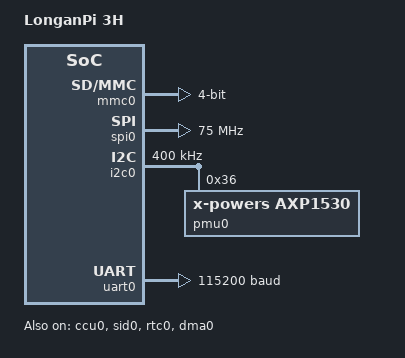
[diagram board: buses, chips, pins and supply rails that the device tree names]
// SPDX-License-Identifier: GPL-2.0+
/dts-v1/;

#include <dt-bindings/dram/dram-param.h>

#include <dt-bindings/gpio/sunxi-gpio.h>
#include <dt-bindings/soc/sun50iw9.h>

/ {
	#address-cells = <1>;
	#size-cells = <1>;
	model = "LonganPi 3H";
	compatible = "syterkit,longanpi-3h";

	aliases {
		ccu0 = &ccu0;
		sid0 = &sid0;
		dma0 = &dma0;
		dram0 = &dram0;
		i2c0 = &i2c0;
		mmc0 = &mmc0;
		pmu0 = &pmu0;
		rtc0 = &rtc0;
		spi0 = &spi0;
	};

	chosen {
		stdout-path = &uart0;
	};

	ccu0: clock-controller@3001000 {
		compatible = "allwinner,sun50iw9-ccu";
		reg = <SUNXI_CCM_BASE 0x1000>,
		      <SUNXI_RPRCM_BASE 0x1000>,
		      <SUNXI_IOMMU_BASE 0x1000>;
		reg-names = "ccu", "r-prcm", "iommu";
		status = "okay";
	};

	dram0: dram-controller {
		compatible = "allwinner,sun50iw9-dram";
		allwinner,dram-parameters =
			<0x000002d0>,
			<SUNXI_DRAM_LPDDR4>,
			<0x0c0c0c0c>,
			<0x0e0e0e0e>,
			<0x00000a0e>,
			<0x7887ffff>,
			<0x000030fa>,
			<0x04000000>,
			<0x00000000>,
			<0x00000034>,
			<0x0000001b>,
			<0x00000033>,
			<0x00000003>,
			<0x00000000>,
			<0x00000000>,
			<0x00000004>,
			<0x00000072>,
			<0x00000000>,
			<0x00000009>,
			<0x00000000>,
			<0x00000000>,
			<0x00000024>,
			<0x00000000>,
			<0x00000000>,
			<0x00000000>,
			<0x00000000>,
			<0x39808080>,
			<0x402f6603>,
			<0x20262620>,
			<0x0e0e0f0f>,
			<0x00001024>,
			<0x00000000>;
		allwinner,rtc = <&rtc0>;
		memory-region = <&dram_init_code>;
		status = "okay";
	};

	pio: pinctrl@300b000 {
		compatible = "allwinner,sunxi-pinctrl";
		reg = <SUNXI_PIO_BASE 0x1000>;
		allwinner,bank-base = <SUNXI_GPIO_PORT_A>;
		allwinner,bank-count = <11>;
		gpio-controller;
		#gpio-cells = <3>;

		mmc0_pins: mmc0-pins {
			allwinner,pins =
				<SUNXI_GPIO_PORT_F 2 2>,
				<SUNXI_GPIO_PORT_F 3 2>,
				<SUNXI_GPIO_PORT_F 1 2>,
				<SUNXI_GPIO_PORT_F 0 2>,
				<SUNXI_GPIO_PORT_F 5 2>,
				<SUNXI_GPIO_PORT_F 4 2>;
		};

		spi0_pins: spi0-pins {
			allwinner,pins =
				<SUNXI_GPIO_PORT_C 1 4>,
				<SUNXI_GPIO_PORT_C 0 4>,
				<SUNXI_GPIO_PORT_C 2 4>,
				<SUNXI_GPIO_PORT_C 3 4>,
				<SUNXI_GPIO_PORT_C 4 4>,
				<SUNXI_GPIO_PORT_C 5 4>;
		};

		uart0_pins: uart0-pins {
			allwinner,pins =
				<SUNXI_GPIO_PORT_H 0 2>,
				<SUNXI_GPIO_PORT_H 1 2>;
		};
	};

	r_pio: pinctrl@7022000 {
		compatible = "allwinner,sunxi-pinctrl";
		reg = <SUNXI_RPIO_BASE 0x1000>;
		allwinner,bank-base = <SUNXI_GPIO_PORT_L>;
		allwinner,bank-count = <3>;
		gpio-controller;
		#gpio-cells = <3>;

		i2c0_pins: i2c0-pins {
			allwinner,pins =
				<SUNXI_GPIO_PORT_L 0 3>,
				<SUNXI_GPIO_PORT_L 1 3>;
		};
	};

	reserved-memory {
		#address-cells = <1>;
		#size-cells = <1>;
		ranges;

		mmc0_dma: dma-descriptors@50080000 {
			reg = <0x50080000 0x100000>;
			no-map;
		};

		dram_init_code: dram-init-code@48000 {
			reg = <0x00048000 0x00008000>;
			no-map;
		};
	};

	soc {
		compatible = "simple-bus";
		#address-cells = <1>;
		#size-cells = <1>;
		ranges;

		sid0: efuse@3006000 {
			compatible = "allwinner,sunxi-sid";
			reg = <SUNXI_SID_BASE 0x400>;
			allwinner,efuse-hv-switch = <(SUNXI_RTC_BASE + 0x204)>;
			status = "okay";
		};

		rtc0: rtc@7000100 {
			compatible = "allwinner,sunxi-rtc";
			reg = <SUNXI_RTC_DATA_BASE 0x100>;
			status = "okay";
		};

		mmc0: mmc@4020000 {
			compatible = "allwinner,sunxi-mmc";
			reg = <SUNXI_SMHC0_BASE 0x1000>;
			label = "SD Card";
			allwinner,mmc-id = <0>;
			bus-width = <4>;
			max-frequency = <50000000>;
			memory-region = <&mmc0_dma>;
			allwinner,clock-gate = <(SUNXI_CCM_BASE + 0x84c) 0>;
			allwinner,reset = <(SUNXI_CCM_BASE + 0x84c) 16>;
			allwinner,module-clock =
				<(SUNXI_CCM_BASE + 0x830) 8 0 1>;
			allwinner,clock-source-rates =
				<24000000 300000000 600000000 0>;
			pinctrl-names = "default";
			pinctrl-0 = <&mmc0_pins>;
			status = "okay";
		};

		dma0: dma-controller@3002000 {
			compatible = "allwinner,sunxi-dma";
			reg = <SUNXI_DMA_BASE 0x1000>;
			#dma-cells = <1>;
			allwinner,mbus-clock-gate = <(SUNXI_CCM_BASE + 0x804) 0>;
			allwinner,clock-gate = <(SUNXI_CCM_BASE + 0x70c) 0>;
			allwinner,reset = <(SUNXI_CCM_BASE + 0x70c) 16>;
			status = "okay";
		};

		spi0: spi@5010000 {
			compatible = "allwinner,sunxi-spi";
			allwinner,spi-id = <0>;
			reg = <SUNXI_SPI0_BASE 0x1000>;
			clock-frequency = <75000000>;
			allwinner,module-clock = <(SUNXI_CCM_BASE + 0x940) 1 8 300000000 0>;
			allwinner,clock-gate = <(SUNXI_CCM_BASE + 0x96c) 0>;
			allwinner,reset = <(SUNXI_CCM_BASE + 0x96c) 16>;
			dmas = <&dma0 22>;
			dma-names = "rx";
			pinctrl-names = "default";
			pinctrl-0 = <&spi0_pins>;
			status = "okay";
		};

		i2c0: i2c@7081400 {
			compatible = "allwinner,sunxi-i2c";
			#address-cells = <1>;
			#size-cells = <0>;
			reg = <SUNXI_RTWI_BASE 0x400>;
			clock-frequency = <400000>;
			allwinner,i2c-id = <6>;
			allwinner,parent-clock-frequency = <24000000>;
			allwinner,clock-gate = <(SUNXI_RPRCM_BASE + 0x19c) 0>;
			allwinner,reset = <(SUNXI_RPRCM_BASE + 0x19c) 16>;
			pinctrl-names = "default";
			pinctrl-0 = <&i2c0_pins>;
			status = "okay";

			pmu0: pmic@36 {
				compatible = "x-powers,axp1530";
				reg = <0x36>;
				status = "okay";
			};
		};

		uart0: serial@5000000 {
			compatible = "allwinner,sunxi-uart";
			reg = <SUNXI_UART0_BASE 0x400>;
			current-speed = <115200>;
			clock-frequency = <24000000>;
			allwinner,uart-id = <0>;
			allwinner,clock-gate = <(SUNXI_CCM_BASE + 0x90c) 0>;
			allwinner,reset = <(SUNXI_CCM_BASE + 0x90c) 16>;
			pinctrl-names = "default";
			pinctrl-0 = <&uart0_pins>;
			status = "okay";
		};
	};
};
